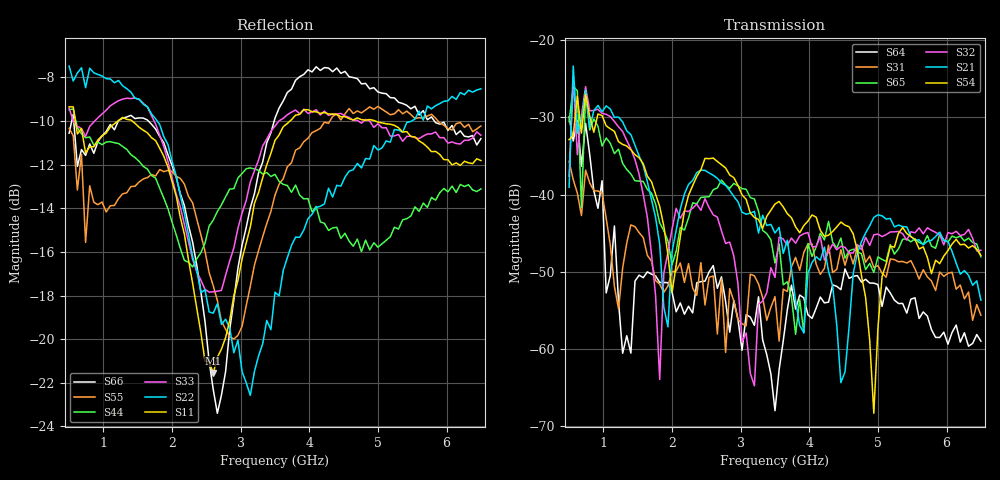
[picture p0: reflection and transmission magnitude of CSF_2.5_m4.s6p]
!Keysight Technologies,M9804A,MY58100912,A.14.10.03
!Date: Thursday, April 27, 2023 10:28:33
!Correction: S11(C  6-Port  )
!S12(C  6-Port  )
!S13(C  6-Port  )
!S14(C  6-Port  )
!S15(C  6-Port  )
!S16(C  6-Port  )
!S21(C  6-Port  )
!S22(C  6-Port  )
!S23(C  6-Port  )
!S24(C  6-Port  )
!S25(C  6-Port  )
!S26(C  6-Port  )
!S31(C  6-Port  )
!S32(C  6-Port  )
!S33(C  6-Port  )
!S34(C  6-Port  )
!S35(C  6-Port  )
!S36(C  6-Port  )
!S41(C  6-Port  )
!S42(C  6-Port  )
!S43(C  6-Port  )
!S44(C  6-Port  )
!S45(C  6-Port  )
!S46(C  6-Port  )
!S51(C  6-Port  )
!S52(C  6-Port  )
!S53(C  6-Port  )
!S54(C  6-Port  )
!S55(C  6-Port  )
!S56(C  6-Port  )
!S61(C  6-Port  )
!S62(C  6-Port  )
!S63(C  6-Port  )
!S64(C  6-Port  )
!S65(C  6-Port  )
!S66(C  6-Port  )
!S6P File: Measurement: :
# Hz S  RI  R 50
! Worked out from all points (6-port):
!   101 points, 500 MHz to 6.5 GHz, reference 50 ohm
!   strongest paths, dB at 500 MHz, 2 GHz, 3.5 GHz, 5 GHz, 6.5 GHz:
!     S54: -32.9, -52.7, -41.2, -57.2, -47.9
!     S21: -39.0, -47.4, -45.0, -42.6, -53.7
!     S32: -37.6, -44.5, -50.7, -45.1, -47.2
!     S65: -30.5, -49.1, -48.9, -48.1, -48.1
!     S31: -35.7, -50.0, -53.2, -49.2, -55.6
!     S64: -29.9, -52.6, -68.0, -51.7, -59.0
!   lowest |S11| = -21.6 dB at 2.6 GHz (marker M1), VSWR 1.18, Z = 42.5 + j2.04 ohm
!   |S11| at or under -10 dB: 591.5 MHz to 1.21 GHz (618.5 MHz wide, 68.7 % of centre); 1.42 GHz to 3.717 GHz (2.298 GHz wide, 89.5 % of centre); 4.962 GHz to end of sweep
